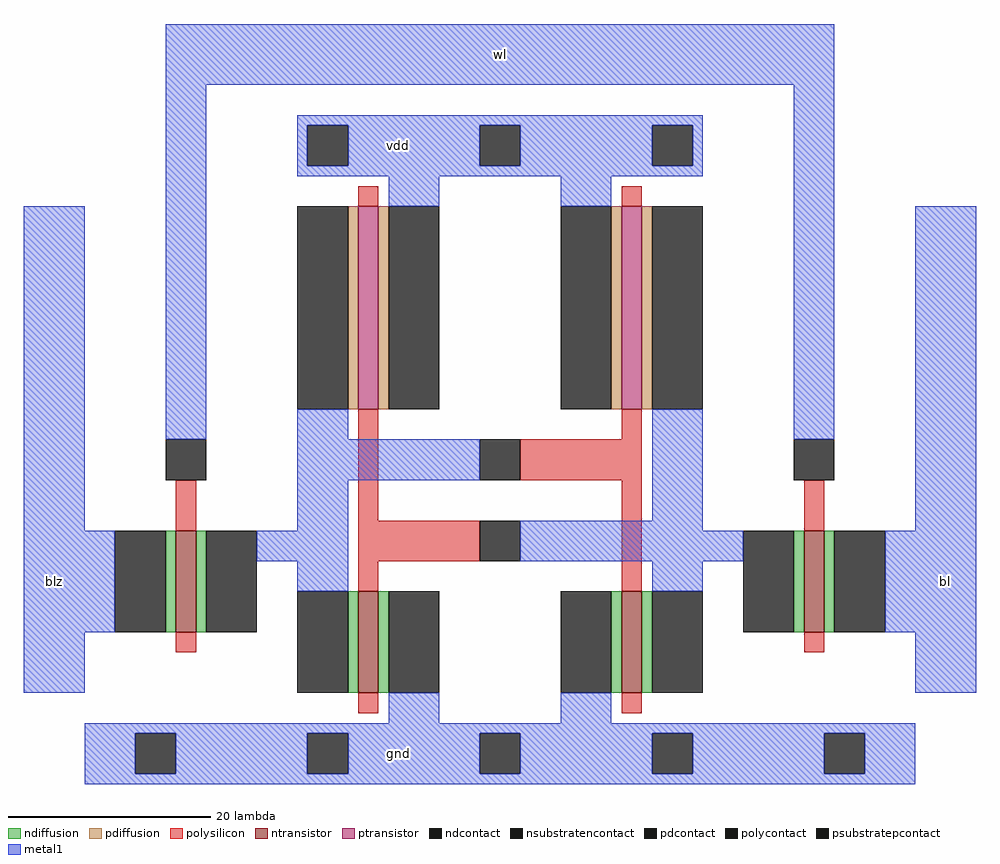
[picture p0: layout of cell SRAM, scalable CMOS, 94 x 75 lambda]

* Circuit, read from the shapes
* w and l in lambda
.subckt SRAM bl blz gnd vdd wl
M1 n1 wl blz gnd nfet w=10 l=2
M2 gnd n2 n1 gnd nfet w=10 l=2
M3 n2 n1 gnd gnd nfet w=10 l=2
M4 bl wl n2 gnd nfet w=10 l=2
M5 vdd n2 n1 vdd pfet w=20 l=2
M6 n2 n1 vdd vdd pfet w=20 l=2
.ends

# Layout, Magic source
magic
tech scmos
<< ntransistor >>
rect -12 -22 -10 -12
rect 6 -28 8 -18
rect 32 -28 34 -18
rect 50 -22 52 -12
<< ptransistor >>
rect 6 0 8 20
rect 32 0 34 20
<< ndiffusion >>
rect -13 -22 -12 -12
rect -10 -22 -9 -12
rect 5 -28 6 -18
rect 8 -28 9 -18
rect 31 -28 32 -18
rect 34 -28 35 -18
rect 49 -22 50 -12
rect 52 -22 53 -12
<< pdiffusion >>
rect 5 0 6 20
rect 8 0 9 20
rect 31 0 32 20
rect 34 0 35 20
<< ndcontact >>
rect -18 -22 -13 -12
rect -9 -22 -4 -12
rect 0 -28 5 -18
rect 9 -28 14 -18
rect 26 -28 31 -18
rect 35 -28 40 -18
rect 44 -22 49 -12
rect 53 -22 58 -12
<< pdcontact >>
rect 0 0 5 20
rect 9 0 14 20
rect 26 0 31 20
rect 35 0 40 20
<< psubstratepcontact >>
rect -16 -36 -12 -32
rect 1 -36 5 -32
rect 18 -36 22 -32
rect 35 -36 39 -32
rect 52 -36 56 -32
<< nsubstratencontact >>
rect 1 24 5 28
rect 18 24 22 28
rect 35 24 39 28
<< polysilicon >>
rect 6 20 8 22
rect 32 20 34 22
rect -12 -12 -10 -7
rect 6 -11 8 0
rect 32 -3 34 0
rect 22 -7 34 -3
rect 6 -15 18 -11
rect 6 -18 8 -15
rect 32 -18 34 -7
rect 50 -12 52 -7
rect -12 -24 -10 -22
rect 50 -24 52 -22
rect 6 -30 8 -28
rect 32 -30 34 -28
<< polycontact >>
rect -13 -7 -9 -3
rect 18 -7 22 -3
rect 49 -7 53 -3
rect 18 -15 22 -11
<< metal1 >>
rect -13 32 53 38
rect -27 -12 -21 20
rect -13 -3 -9 32
rect 0 28 40 29
rect 0 24 1 28
rect 5 24 18 28
rect 22 24 35 28
rect 39 24 40 28
rect 0 23 40 24
rect 9 20 14 23
rect 26 20 31 23
rect 0 -3 5 0
rect 0 -7 18 -3
rect 0 -12 5 -7
rect 35 -11 40 0
rect 49 -3 53 32
rect -27 -22 -18 -12
rect -4 -15 5 -12
rect 22 -12 40 -11
rect 61 -12 67 20
rect 22 -15 44 -12
rect 0 -18 5 -15
rect 35 -18 40 -15
rect -27 -28 -21 -22
rect 9 -31 14 -28
rect 58 -22 67 -12
rect 61 -28 67 -22
rect 26 -31 31 -28
rect -21 -32 61 -31
rect -21 -36 -16 -32
rect -12 -36 1 -32
rect 5 -36 18 -32
rect 22 -36 35 -32
rect 39 -36 52 -32
rect 56 -36 61 -32
rect -21 -37 61 -36
<< labels >>
rlabel metal1 10 26 10 26 1 vdd
rlabel metal1 10 -34 10 -34 1 gnd
rlabel metal1 20 35 20 35 5 wl
rlabel metal1 -24 -17 -24 -17 3 blz
rlabel metal1 64 -17 64 -17 7 bl
<< end >>
